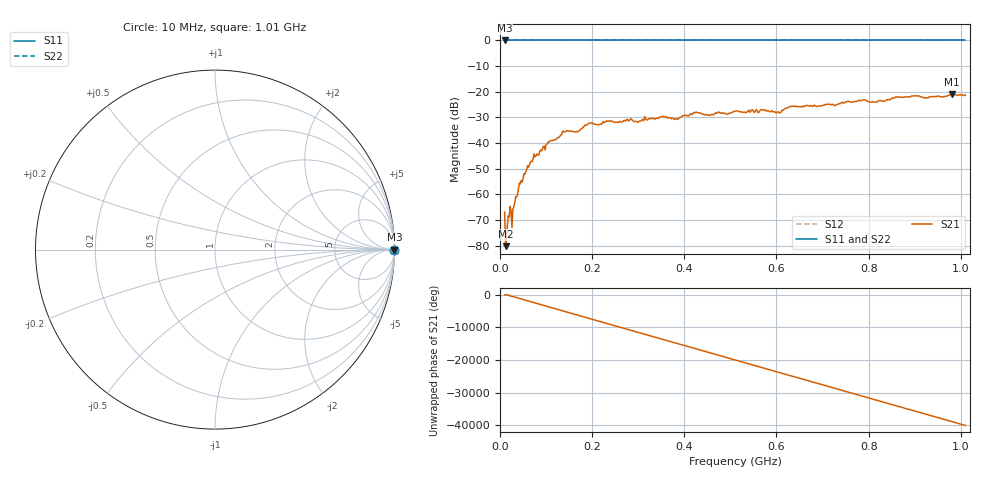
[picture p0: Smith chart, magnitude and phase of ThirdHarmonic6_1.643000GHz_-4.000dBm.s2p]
! 8/16/2025 7:39:18 PM
! C:\ANRITSUVNA\TEMP\TEMP.S2P
! CHANNEL.1
! TR.MEASUREMENT
! RAW.DATA
! RF.CORRECTION.OFF
! AVERAGING.OFF
! IF.BANDWIDTH: 5KHZ
! SWEEPTYPE:  FREQ.SWEEP(Linear)
! Reference Plane Port Info
! PORT:  PORT1  PORT2
! DISTANCE:  0  m  0  m
! TIME:  0  s  0  s
! PHASE.OFFSET:  0  deg.  0  deg.
! LOSS:  0  dB  0  dB
! REF.LOSS:  0  dB  0  dB
! REF.FREQ:  0  Hz  0  Hz
! Power Info
! POWER:  -20  dBm  -20  dBm
! EFF.POWER:  -20  dBm  -20  dBm
! SOURCE.ATTEN:  0  dB  0  dB
! TEST.ATTEN:  0  dB  0  dB
# GHZ S RI R 50.0
! FREQ.GHZ  S11RE  S11IM  S21RE  S21IM  S12RE  S12IM  S22RE  S22IM
!; PortSelection: Port_12
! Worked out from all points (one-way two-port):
!   501 points, 10 MHz to 1.01 GHz, reference 50 ohm
!   highest |S21| = -21.04 dB at 980 MHz (marker M1); lowest = -80.2 dB at 12 MHz (marker M2)
!   lowest |S11| = 0.0 dB at 10 MHz (marker M3)
!   |S11| at or under -10 dB: nowhere
!   |S22| runs from 0.0 to 0.0 dB; largest |S21 - S12| = 1.1
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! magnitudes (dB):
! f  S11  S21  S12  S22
! 10 MHz  0.0  -66.9  0.0  0.0
! 12 MHz  0.0  -80.2  0.0  0.0
! 16 MHz  0.0  -72.0  0.0  0.0
! 20 MHz  0.0  -68.9  0.0  0.0
! 28 MHz  0.0  -65.7  0.0  0.0
! 44 MHz  0.0  -56.0  0.0  0.0
! 56 MHz  0.0  -51.1  0.0  0.0
! 76 MHz  0.0  -45.4  0.0  0.0
! 140 MHz  0.0  -35.7  0.0  0.0
! 178 MHz  0.0  -34.3  0.0  0.0
! 196 MHz  0.0  -32.3  0.0  0.0
! 344 MHz  0.0  -30.4  0.0  0.0
! 382 MHz  0.0  -30.5  0.0  0.0
! 424 MHz  0.0  -28.1  0.0  0.0
! 454 MHz  0.0  -29.2  0.0  0.0
! 510 MHz  0.0  -27.6  0.0  0.0
! 604 MHz  0.0  -27.8  0.0  0.0
! 632 MHz  0.0  -25.7  0.0  0.0
! 678 MHz  0.0  -25.7  0.0  0.0
! 844 MHz  0.0  -23.1  0.0  0.0
! 980 MHz  0.0  -21.0  0.0  0.0
! 1.01 GHz  0.0  -21.3  0.0  0.0
